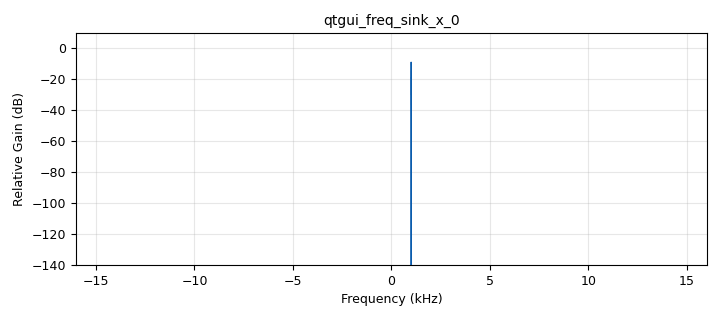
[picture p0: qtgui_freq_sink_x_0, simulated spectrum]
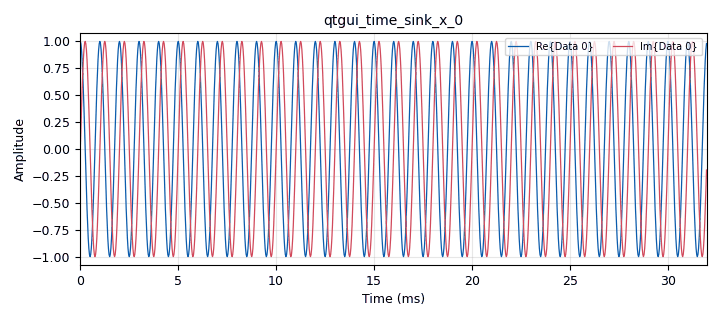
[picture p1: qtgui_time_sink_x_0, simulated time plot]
options:
  parameters:
    generate_options: qt_gui
    id: example003
    output_language: python
    title: example003
  states: {}

blocks:
- name: f0
  id: variable_qtgui_range
  parameters:
    orient: Qt.Horizontal
    start: '-5e3'
    step: '1'
    stop: 5e3
    value: 1e3
  states: {}
- name: offset
  id: variable_qtgui_range
  parameters:
    orient: Qt.Horizontal
    start: '-1'
    step: '0.01'
    stop: '1'
    value: '0'
  states: {}
- name: samp_rate
  id: variable
  parameters:
    value: '32000'
  states: {}
- name: waveform
  id: variable_qtgui_chooser
  parameters:
    label0: Cosine
    label1: Rectangular
    label2: Triangular
    num_opts: '3'
    option1: '103'
    option2: '104'
    type: int
    value: '102'
  states: {}
- name: analog_sig_source_x_0
  id: analog_sig_source_x
  parameters:
    amp: '1'
    freq: f0
    offset: offset*(1+1j)
    phase: '0'
    samp_rate: samp_rate
    type: complex
    waveform: waveform
  states: {}
- name: blocks_throttle_0
  id: blocks_throttle
  parameters:
    samples_per_second: samp_rate
    type: complex
  states: {}
- name: qtgui_freq_sink_x_0
  id: qtgui_freq_sink_x
  parameters:
    bw: samp_rate
    fc: '0'
    fftsize: 1024*8
    type: complex
    wintype: firdes.WIN_BLACKMAN_hARRIS
  states: {}
- name: qtgui_time_sink_x_0
  id: qtgui_time_sink_x
  parameters:
    size: '1024'
    srate: samp_rate
    type: complex
  states: {}

connections:
- [analog_sig_source_x_0, '0', blocks_throttle_0, '0']
- [blocks_throttle_0, '0', qtgui_freq_sink_x_0, '0']
- [blocks_throttle_0, '0', qtgui_time_sink_x_0, '0']

metadata:
  file_format: 1
